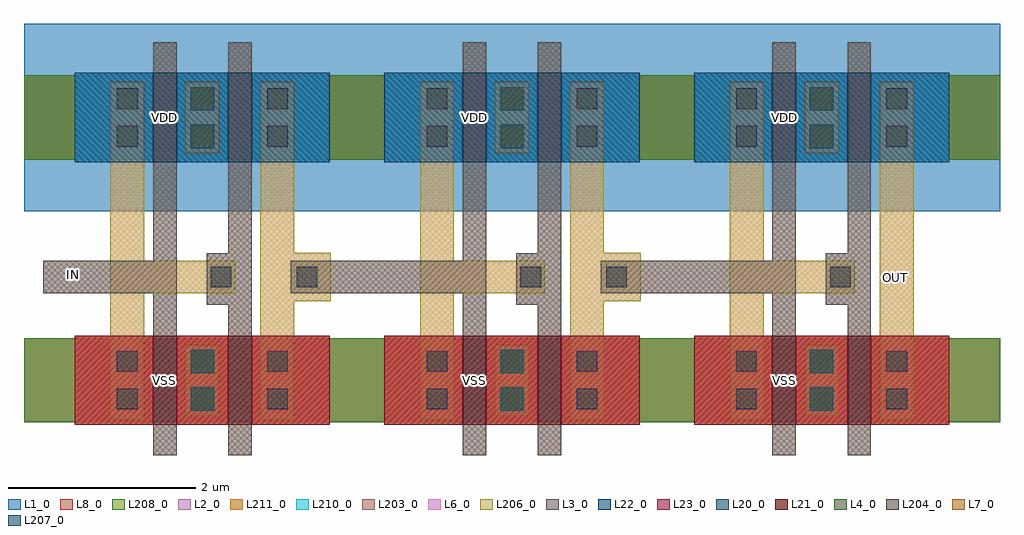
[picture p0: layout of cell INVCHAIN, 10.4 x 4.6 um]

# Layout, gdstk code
from math import pi, radians
import gdstk
lib = gdstk.Library(unit=1e-6, precision=1e-09)
def R(c, l, rs):  # rectangles x0, y0, x1, y1
    for r in rs: c.add(gdstk.rectangle(r[:2], r[2:], *l))
def A(c, l, x, y, w, h, nx, ny, dx, dy):  # array of equal rectangles
    R(c, l, [(x+i*dx, y+j*dy, x+i*dx+w, y+j*dy+h) for i in range(nx) for j in range(ny)])
L1_0 = (1, 0)
L2_0 = (2, 0)
L3_0 = (3, 0)
L4_0 = (4, 0)
L6_0 = (6, 0)
L7_0 = (7, 0)
L8_0 = (8, 0)
L20_0 = (20, 0)
L21_0 = (21, 0)
L22_0 = (22, 0)
L23_0 = (23, 0)
L203_0 = (203, 0)
L204_0 = (204, 0)
L206_0 = (206, 0)
L207_0 = (207, 0)
L208_0 = (208, 0)
L210_0 = (210, 0)
L211_0 = (211, 0)

net_trans__1 = lib.new_cell('NET_TRANS_$1')
R(net_trans__1, L204_0, [(-0.51,-0.31,-0.29,-0.09), (-0.51,0.09,-0.29,0.31)])
R(net_trans__1, L206_0, [(-0.58,-0.38,-0.22,0.38)])

net_trans__2 = lib.new_cell('NET_TRANS_$2')
R(net_trans__2, L204_0, [(0.29,-0.31,0.51,-0.09), (0.29,0.09,0.51,0.31)])
R(net_trans__2, L206_0, [(0.22,-0.38,0.58,0.38)])

net_trans__3 = lib.new_cell('NET_TRANS_$3')
R(net_trans__3, L203_0, [(-0.125,-0.8,0.125,0.8)])

trans = lib.new_cell('TRANS')
R(trans, L2_0, [(-0.96,-0.475,0.96,0.475)])
R(trans, L4_0, [(-0.51,-0.31,-0.29,-0.09), (0.29,-0.31,0.51,-0.09), (-0.51,0.09,-0.29,0.31), (0.29,0.09,0.51,0.31)])
R(trans, L6_0, [(-0.58,-0.38,-0.22,0.38), (0.22,-0.38,0.58,0.38)])
trans.add(gdstk.FlexPath([(0,-0.8),(0,0.8)], 0.25, ends="flush", simple_path=True, layer=3, datatype=0))  # L3_0
trans.add(gdstk.Reference(net_trans__1, (0,0)))
trans.add(gdstk.Reference(net_trans__2, (0,0)))
trans.add(gdstk.Reference(net_trans__3, (0,0)))

net_inv__1 = lib.new_cell('NET_INV_$1')
R(net_inv__1, L207_0, [(0.275,-0.325,0.525,-0.075), (0.275,0.075,0.525,0.325)])
R(net_inv__1, L208_0, [(-1.5,-0.45,1.5,0.45)])
R(net_inv__1, L211_0, [(0.125,-0.475,0.675,0.475)])

net_inv__2 = lib.new_cell('NET_INV_$2')
R(net_inv__2, L207_0, [(0.275,2.475,0.525,2.725), (0.275,2.875,0.525,3.125)])
R(net_inv__2, L208_0, [(-1.5,2.35,1.5,3.25)])
R(net_inv__2, L210_0, [(0.125,2.325,0.675,3.275)])

net_inv__3 = lib.new_cell('NET_INV_$3')
R(net_inv__3, L203_0, [(-0.125,-0.25,0.125,2.25)])

net_inv__4 = lib.new_cell('NET_INV_$4')
R(net_inv__4, L206_0, [(-0.58,-0.42,-0.22,2.42)])
R(net_inv__4, L210_0, [(-0.96,2.325,-0.125,3.275)])
R(net_inv__4, L211_0, [(-0.96,-0.475,-0.125,0.475)])

net_inv__5 = lib.new_cell('NET_INV_$5')
R(net_inv__5, L210_0, [(0.925,2.325,0.96,3.275)])

net_inv__9 = lib.new_cell('NET_INV_$9')
R(net_inv__9, L211_0, [(0.925,-0.475,0.96,0.475)])

d_pmos = lib.new_cell('D$PMOS')
R(d_pmos, L203_0, [(-0.125,-0.475,0.125,0.475)])
R(d_pmos, L210_0, [(-0.96,-0.475,-0.125,0.475), (0.125,-0.475,0.675,0.475)])

d_pmos_1 = lib.new_cell('D$PMOS$1')
R(d_pmos_1, L203_0, [(-0.125,-0.475,0.125,0.475)])
R(d_pmos_1, L210_0, [(-0.675,-0.475,-0.125,0.475), (0.125,-0.475,0.16,0.475)])

d_nmos = lib.new_cell('D$NMOS')
R(d_nmos, L203_0, [(-0.125,-0.475,0.125,0.475)])
R(d_nmos, L211_0, [(-0.96,-0.475,-0.125,0.475), (0.125,-0.475,0.675,0.475)])

d_nmos_1 = lib.new_cell('D$NMOS$1')
R(d_nmos_1, L203_0, [(-0.125,-0.475,0.125,0.475)])
R(d_nmos_1, L211_0, [(-0.675,-0.475,-0.125,0.475), (0.125,-0.475,0.16,0.475)])

inv = lib.new_cell('INV')
R(inv, L1_0, [(-1.5,1.8,1.5,3.8)])
R(inv, L3_0, [(-0.125,-0.25,0.125,2.25)])
R(inv, L6_0, [(-0.58,-0.42,-0.22,2.42)])
R(inv, L7_0, [(0.275,-0.325,0.525,-0.075), (0.275,0.075,0.525,0.325), (0.275,2.475,0.525,2.725), (0.275,2.875,0.525,3.125)])
R(inv, L8_0, [(-1.5,-0.45,1.5,0.45), (-1.5,2.35,1.5,3.25)])
R(inv, L20_0, [(-0.125,2.325,0.125,3.275), (0.675,2.325,0.925,3.275)])
R(inv, L21_0, [(-0.125,-0.475,0.125,0.475), (0.675,-0.475,0.925,0.475)])
R(inv, L22_0, [(-0.96,2.325,-0.125,3.275), (0.125,2.325,0.675,3.275), (0.925,2.325,0.96,3.275)])
R(inv, L23_0, [(-0.96,-0.475,-0.125,0.475), (0.125,-0.475,0.675,0.475), (0.925,-0.475,0.96,0.475)])
inv.add(gdstk.Reference(trans, (0,0)))
inv.add(gdstk.Reference(trans, (0,2.8)))
inv.add(gdstk.Reference(net_inv__1, (0,0)))
inv.add(gdstk.Reference(net_inv__2, (0,0)))
inv.add(gdstk.Reference(net_inv__3, (0,0)))
inv.add(gdstk.Reference(net_inv__4, (0,0)))
inv.add(gdstk.Reference(net_inv__5, (0,0)))
inv.add(gdstk.Reference(net_inv__9, (0,0)))
inv.add(gdstk.Reference(d_pmos, (0,2.8)))
inv.add(gdstk.Reference(d_pmos_1, (0.8,2.8)))
inv.add(gdstk.Reference(d_nmos, (0,0)))
inv.add(gdstk.Reference(d_nmos_1, (0.8,0)))

inv2 = lib.new_cell('INV2')
inv2.add(gdstk.Reference(inv, (1.5,0.8), rotation=pi, x_reflection=True))
inv2.add(gdstk.Reference(inv, (4,0.8)))

inv3 = lib.new_cell('INV3')
inv3.add(gdstk.Reference(inv, (1.5,0.8)))
inv3.add(gdstk.Reference(inv, (4.8,0.8)))
inv3.add(gdstk.Reference(inv, (2.3,0.8), rotation=pi, x_reflection=True))

net_invchain_in = lib.new_cell('NET_INVCHAIN_IN')
R(net_invchain_in, L203_0, [(-1.295,0.925,-0.06,1.275)])

net_invchain__2 = lib.new_cell('NET_INVCHAIN_$2')
R(net_invchain__2, L204_0, [(0.49,0.99,0.71,1.21)])
R(net_invchain__2, L206_0, [(-0.355,0.925,0.75,1.275)])

net_invchain__3 = lib.new_cell('NET_INVCHAIN_$3')
R(net_invchain__3, L204_0, [(3.79,0.99,4.01,1.21)])
R(net_invchain__3, L206_0, [(2.945,0.925,4.05,1.275)])

net_invchain__4 = lib.new_cell('NET_INVCHAIN_$4')
R(net_invchain__4, L204_0, [(1.405,0.99,1.625,1.21)])
R(net_invchain__4, L206_0, [(1.33,0.84,1.77,1.36)])

net_invchain__5 = lib.new_cell('NET_INVCHAIN_$5')
R(net_invchain__5, L204_0, [(7.09,0.99,7.31,1.21)])
R(net_invchain__5, L206_0, [(6.245,0.925,7.35,1.275)])

net_invchain__6 = lib.new_cell('NET_INVCHAIN_$6')
R(net_invchain__6, L204_0, [(4.705,0.99,4.925,1.21)])
R(net_invchain__6, L206_0, [(4.63,0.84,5.07,1.36)])

net_invchain__7 = lib.new_cell('NET_INVCHAIN_$7')
R(net_invchain__7, L203_0, [(0.445,0.805,0.925,1.355)])

net_invchain__8 = lib.new_cell('NET_INVCHAIN_$8')
R(net_invchain__8, L203_0, [(1.345,0.925,3.29,1.275)])

net_invchain__9 = lib.new_cell('NET_INVCHAIN_$9')
R(net_invchain__9, L203_0, [(3.745,0.805,4.225,1.355)])

net_invchain__10 = lib.new_cell('NET_INVCHAIN_$10')
R(net_invchain__10, L203_0, [(4.645,0.925,6.59,1.275)])

net_invchain__11 = lib.new_cell('NET_INVCHAIN_$11')
R(net_invchain__11, L203_0, [(7.045,0.805,7.525,1.355)])

invchain = lib.new_cell('INVCHAIN')
A(invchain, L3_0, 0.445, 0.805, 0.48, 0.55, 3, 1, 3.3, 0)
R(invchain, L3_0, [(-1.295,0.925,-0.06,1.275), (1.345,0.925,3.29,1.275), (4.645,0.925,6.59,1.275)])
R(invchain, L4_0, [(0.49,0.99,0.71,1.21), (1.405,0.99,1.625,1.21), (3.79,0.99,4.01,1.21), (4.705,0.99,4.925,1.21), (7.09,0.99,7.31,1.21)])
A(invchain, L6_0, -0.355, 0.925, 1.105, 0.35, 3, 1, 3.3, 0)
R(invchain, L6_0, [(1.33,0.84,1.77,1.36), (4.63,0.84,5.07,1.36)])
invchain.add(gdstk.Reference(inv2, (2.6,-0.8)))
invchain.add(gdstk.Reference(inv, (7.4,0), rotation=pi, x_reflection=True))
invchain.add(gdstk.Reference(inv3, (-1.5,-0.8)))
invchain.add(gdstk.Reference(net_invchain_in, (0,0)))
invchain.add(gdstk.Reference(net_invchain__2, (0,0)))
invchain.add(gdstk.Reference(net_invchain__3, (0,0)))
invchain.add(gdstk.Reference(net_invchain__4, (0,0)))
invchain.add(gdstk.Reference(net_invchain__5, (0,0)))
invchain.add(gdstk.Reference(net_invchain__6, (0,0)))
invchain.add(gdstk.Reference(net_invchain__7, (0,0)))
invchain.add(gdstk.Reference(net_invchain__8, (0,0)))
invchain.add(gdstk.Reference(net_invchain__9, (0,0)))
invchain.add(gdstk.Reference(net_invchain__10, (0,0)))
invchain.add(gdstk.Reference(net_invchain__11, (0,0)))
invchain.add(gdstk.Label('IN', (-0.97,1.125), layer=3, texttype=1))
invchain.add(gdstk.Label('OUT', (7.79,1.1), layer=6, texttype=1))
invchain.add(gdstk.Label('VSS', (6.6,0), layer=8, texttype=1))
invchain.add(gdstk.Label('VSS', (3.3,0), layer=8, texttype=1))
invchain.add(gdstk.Label('VDD', (3.3,2.8), layer=8, texttype=1))
invchain.add(gdstk.Label('VDD', (6.6,2.8), layer=8, texttype=1))
invchain.add(gdstk.Label('VSS', (0,0), layer=8, texttype=1))
invchain.add(gdstk.Label('VDD', (0,2.8), layer=8, texttype=1))

lib.write_gds('INVCHAIN.gds')
